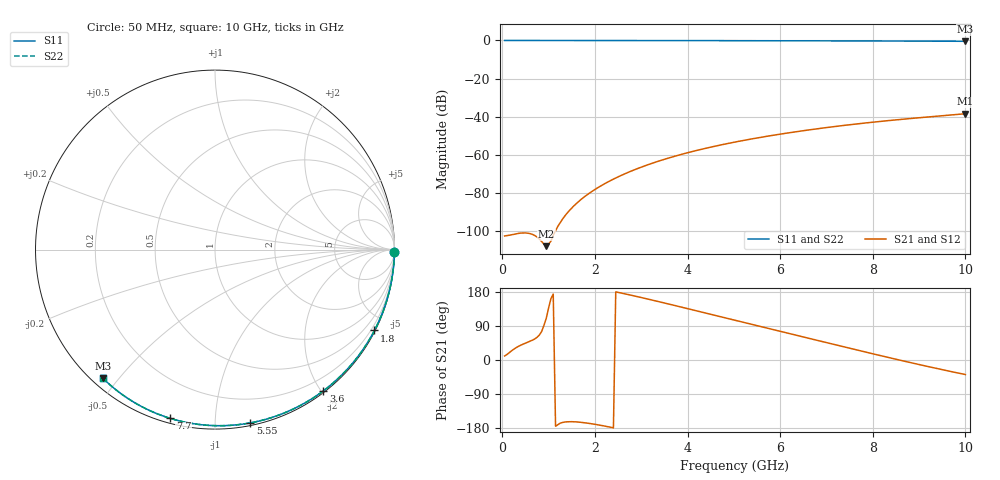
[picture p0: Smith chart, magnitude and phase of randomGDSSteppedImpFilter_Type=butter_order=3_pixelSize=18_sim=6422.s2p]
! freq	dB(S11)	phase(S11)	dB(S12)	phase(S12)
!  dB(S21)	phase(S21)	dB(S22)	phase(S22)
!S-par simulation data
#  GHz  S  DB  R 50
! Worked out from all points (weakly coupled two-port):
!   200 points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, 50 MHz to 10 GHz, reference 50 ohm
!   highest |S21| = -38.42 dB at 10 GHz (marker M1); lowest = -107.9 dB at 950 MHz (marker M2)
!   lowest |S11| = -0.4 dB at 10 GHz (marker M3), VSWR 39.51, Z = 1.53 - j22.7 ohm
!   |S11| at or under -10 dB: nowhere
!   |S22| runs from -0.4 to 0.0 dB; largest |S21 - S12| = 0
!   S11 on the Smith chart (normalised r, x): 50 MHz: open; 1.8 GHz: 0.04, -4.18; 3.6 GHz: 0.02, -2.02; 5.55 GHz: 0.02, -1.22; 7.7 GHz: 0.02, -0.77; 10 GHz: 0.03, -0.45
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0.05  -0.00 -0.8  -102.51 10.6  -102.51 10.6  -0.00 -0.8
0.5  -0.01 -7.6  -100.93 44.5  -100.93 44.5  -0.01 -7.6
0.95  -0.02 -14.3  -107.87 110.3  -107.87 110.3  -0.02 -14.3
1.75  -0.03 -26.1  -82.41 -165.2  -82.41 -165.2  -0.03 -26.1
1.8  -0.03 -26.9  -81.48 -166.0  -81.48 -166.0  -0.03 -26.9
1.9  -0.04 -28.3  -79.75 -167.7  -79.75 -167.7  -0.04 -28.3
2.05  -0.04 -30.5  -77.38 -170.7  -77.38 -170.7  -0.04 -30.5
2.25  -0.04 -33.4  -74.58 -175.3  -74.58 -175.3  -0.04 -33.4
2.65  -0.05 -39.2  -69.87 174.5  -69.87 174.5  -0.05 -39.2
3  -0.06 -44.2  -66.44 164.9  -66.44 164.9  -0.06 -44.2
3.4  -0.07 -49.8  -63.08 153.4  -63.08 153.4  -0.07 -49.8
3.6  -0.07 -52.6  -61.58 147.5  -61.58 147.5  -0.07 -52.6
3.9  -0.08 -56.7  -59.52 138.6  -59.52 138.6  -0.08 -56.7
4.3  -0.09 -62.1  -57.06 126.6  -57.06 126.6  -0.09 -62.1
5.05  -0.11 -72.1  -53.15 104.1  -53.15 104.1  -0.11 -72.1
5.55  -0.13 -78.5  -50.93 89.1  -50.93 89.1  -0.13 -78.5
6.1  -0.15 -85.5  -48.75 72.7  -48.75 72.7  -0.15 -85.5
6.7  -0.18 -92.9  -46.64 54.8  -46.64 54.8  -0.18 -92.9
7.7  -0.24 -104.9  -43.64 25.2  -43.64 25.2  -0.24 -104.9
8.35  -0.29 -112.4  -42.00 6.3  -42.00 6.3  -0.29 -112.4
9.15  -0.36 -121.6  -40.20 -16.1  -40.20 -16.1  -0.36 -121.6
10  -0.44 -131.2  -38.42 -38.4  -38.42 -38.4  -0.44 -131.2
